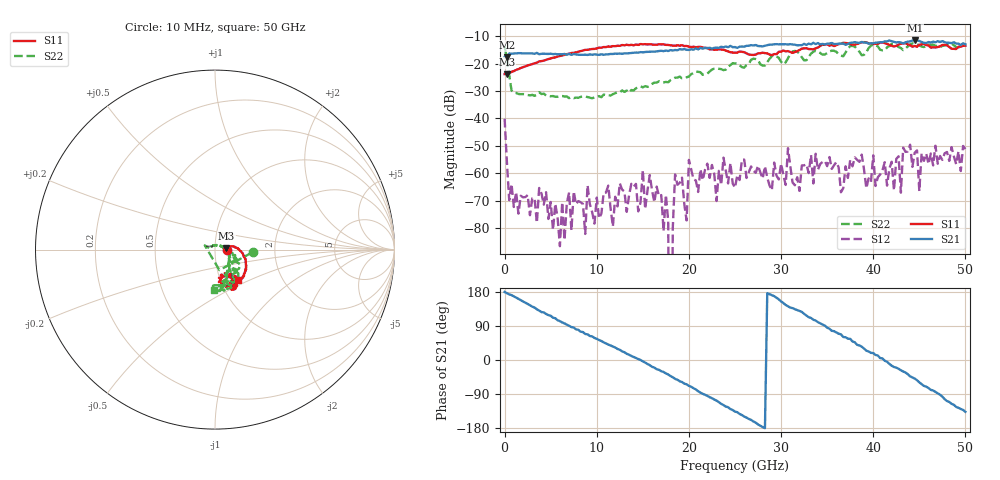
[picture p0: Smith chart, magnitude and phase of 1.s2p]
!Agilent Technologies,E8364C,MY43040239,A.09.42.22
!Agilent E8364C: A.09.42.22
!Date: Sunday, September 14, 2025 22:24:53
!Correction: S11(Full 2 Port(1,2))
!S21(Full 2 Port(1,2))
!S12(Full 2 Port(1,2))
!S22(Full 2 Port(1,2))
!S2P File: Measurements: S11, S21, S12, S22:
# Hz S  RI  R 50
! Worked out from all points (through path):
!   201 points, 10 MHz to 50 GHz, reference 50 ohm
!   highest |S21| = -11.55 dB at 44.5 GHz (marker M1); lowest = -17.7 dB at 259.9 MHz (marker M2)
!   lowest |S11| = -23.8 dB at 259.9 MHz (marker M3), VSWR 1.14, Z = 56.8 + j0.705 ohm
!   |S11| at or under -10 dB: start of sweep to end of sweep
!   |S22| runs from -32.7 to -12.6 dB; largest |S21 - S12| = 0.26
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1e7  0.0643 -0.00235  -0.1313 0.00107  0.00729 0.00659  0.209 -0.0152
2.5995e8  0.0639 0.00618  -0.1294 0.00811  -0.000755 -0.00139  0.0246 -0.114
1.5097e9  0.0775 0.0167  -0.147 0.0495  0.000141 -0.000116  -0.0271 0.00684
8.5083e9  0.1655 -0.0483  0.0407 0.1392  0.000184 -0.000204  -0.00364 0.0248
1.675665e10  0.1013 -0.202  0.1527 -0.074  -0.000348 0.00015  0.0436 0.0191
1.825635e10  0.0741 -0.2007  0.1213 -0.1238  -9.03e-05 4.58e-05  0.0522 0.00702
1.85063e10  0.0673 -0.2012  0.1145 -0.1356  -0.000922 0.000211  0.055 0.00658
1.925615e10  0.061 -0.2085  0.0955 -0.1532  -0.000772 0.000303  0.053 0.0098
1.975605e10  0.0566 -0.202  0.0777 -0.1605  8.7e-05 0.000106  0.056 0.00282
2.0006e10  0.0549 -0.1961  0.0658 -0.1649  -0.00174 0.000155  0.058 -0.00355
2.5005e10  0.0221 -0.157  -0.1448 -0.1389  -0.000505 -0.000197  0.0978 -0.0241
3.05039e10  0.0921 -0.1396  -0.1857 0.1288  0.000506 0.000338  0.0738 -0.0756
3.075385e10  0.0935 -0.141  -0.1748 0.1383  0.00275 0.000798  0.0781 -0.0978
3.35033e10  0.0991 -0.1526  -0.0671 0.2297  0.000647 -3.17e-05  0.1037 -0.1274
4.175165e10  0.1046 -0.1925  0.2602 -0.0471  0.000701 -0.000983  0.0561 -0.2018
4.275145e10  0.0805 -0.2069  0.2268 -0.0965  -0.00173 0.00106  0.0863 -0.1804
4.30014e10  0.0932 -0.2123  0.2161 -0.1102  0.000283 0.000337  0.0729 -0.1781
4.325135e10  0.0978 -0.2115  0.2019 -0.118  -0.00282 0.000765  0.0536 -0.168
4.45011e10  0.0909 -0.1889  0.1732 -0.2  -0.000775 -0.00223  0.0552 -0.2228
4.5001e10  0.088 -0.2014  0.1333 -0.2217  -0.000123 0.000454  0.0605 -0.206
4.525095e10  0.0994 -0.2022  0.1097 -0.2231  0.000539 0.00223  0.0548 -0.1975
5e10  0.1276 -0.1696  -0.1645 -0.1544  0.00254 -0.0011  -0.00491 -0.2272
